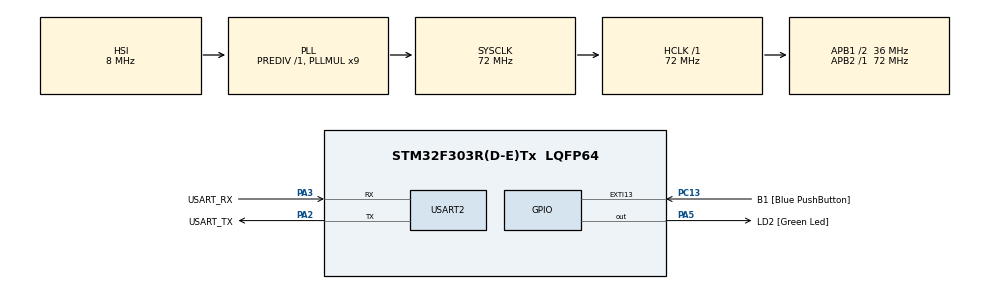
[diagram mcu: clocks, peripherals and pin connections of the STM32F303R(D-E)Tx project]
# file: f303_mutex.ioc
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FREERTOS.Mutexes01=myMutex01,Static,myMutex01ControlBlock
FREERTOS.Tasks01=putResourceTask,24,128,StartPutResourceTask,Default,NULL,Dynamic,NULL,NULL;getResourceTask,24,128,StartGetResourceTask,Default,NULL,Dynamic,NULL,NULL
Mcu.Family=STM32F3
Mcu.Name=STM32F303R(D-E)Tx
Mcu.Package=LQFP64
NVIC.PriorityGroup=NVIC_PRIORITYGROUP_4
NVIC.TIM6_DAC_IRQn=true\:0\:0\:false\:false\:true\:false\:false\:true
NVIC.TimeBase=TIM6_DAC_IRQn
NVIC.TimeBaseIP=TIM6
PA13.GPIO_Label=TMS
PA13.Mode=Serial_Wire
PA13.Signal=SYS_JTMS-SWDIO
PA14.GPIO_Label=TCK
PA14.Mode=Serial_Wire
PA14.Signal=SYS_JTCK-SWCLK
PA2.GPIO_Label=USART_TX
PA2.GPIO_Mode=GPIO_MODE_AF_PP
PA2.GPIO_PuPd=GPIO_NOPULL
PA2.GPIO_Speed=GPIO_SPEED_FREQ_LOW
PA2.Mode=Asynchronous
PA2.Signal=USART2_TX
PA3.GPIO_Label=USART_RX
PA3.GPIO_Mode=GPIO_MODE_AF_PP
PA3.GPIO_PuPd=GPIO_NOPULL
PA3.GPIO_Speed=GPIO_SPEED_FREQ_LOW
PA3.Mode=Asynchronous
PA3.Signal=USART2_RX
PA5.GPIO_Label=LD2 [Green Led]
PA5.GPIO_Mode=GPIO_MODE_OUTPUT_PP
PA5.GPIO_PuPd=GPIO_NOPULL
PA5.GPIO_Speed=GPIO_SPEED_FREQ_LOW
PA5.Signal=GPIO_Output
PB3.GPIO_Label=SWO
PB3.Signal=SYS_JTDO-TRACESWO
PC13.GPIO_Label=B1 [Blue PushButton]
PC13.GPIO_ModeDefaultEXTI=GPIO_MODE_IT_FALLING
PC13.Signal=GPXTI13
PC14-OSC32_IN.Mode=LSE-External-Oscillator
PC14-OSC32_IN.Signal=RCC_OSC32_IN
PC15-OSC32_OUT.Mode=LSE-External-Oscillator
PC15-OSC32_OUT.Signal=RCC_OSC32_OUT
PF0-OSC_IN.Mode=HSE-External-Clock-Source
PF0-OSC_IN.Signal=RCC_OSC_IN
PF1-OSC_OUT.Signal=RCC_OSC_OUT
ProjectManager.HeapSize=0x200
ProjectManager.StackSize=0x400
ProjectManager.TargetToolchain=STM32CubeIDE
RCC.AHBFreq_Value=72000000
RCC.APB1CLKDivider=RCC_HCLK_DIV2
RCC.APB1Freq_Value=36000000
RCC.APB1TimFreq_Value=72000000
RCC.APB2Freq_Value=72000000
RCC.APB2TimFreq_Value=72000000
RCC.CortexFreq_Value=72000000
RCC.HCLKFreq_Value=72000000
RCC.HSE_VALUE=8000000
RCC.HSI_VALUE=8000000
RCC.PLLM=8
RCC.PLLMUL=RCC_PLL_MUL9
RCC.PLLN=336
RCC.PLLP=RCC_PLLP_DIV4
RCC.PLLQ=7
RCC.RCC_PLLsource_Clock_Source_FROM_HSE=RCC_HSE_PREDIV_DIV2
RCC.SYSCLKFreq_VALUE=72000000
RCC.SYSCLKSourceVirtual=RCC_SYSCLKSOURCE_PLLCLK
RCC.USBFreq_Value=72000000
USART2.VirtualMode-Asynchronous=VM_ASYNC
VP_FREERTOS_VS_CMSIS_V2.Mode=CMSIS_V2
VP_SYS_VS_tim6.Mode=TIM6
board=NUCLEO-F303RE

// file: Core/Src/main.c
/* USER CODE BEGIN Header */
/**
  ******************************************************************************
  * @file           : main.c
  * @brief          : Main program body
  ******************************************************************************
  * @attention
  *
  * <h2><center>&copy; Copyright (c) 2021 STMicroelectronics.
  * All rights reserved.</center></h2>
  *
  * This software component is licensed by ST under Ultimate Liberty license
  * SLA0044, the "License"; You may not use this file except in compliance with
  * the License. You may obtain a copy of the License at:
  *                             www.st.com/SLA0044
  *
  ******************************************************************************
  */
/* USER CODE END Header */
#include "main.h"
#include "cmsis_os.h"

/* USER CODE BEGIN Includes */
#include <stdio.h>
#include <string.h>
/* USER CODE END Includes */

typedef StaticSemaphore_t osStaticMutexDef_t;

UART_HandleTypeDef huart2;

/* Definitions for putResourceTask */
osThreadId_t putResourceTaskHandle;
const osThreadAttr_t putResourceTask_attributes = {
  .name = "putResourceTask",
  .priority = (osPriority_t) osPriorityNormal,
  .stack_size = 128 * 4
};
/* Definitions for getResourceTask */
osThreadId_t getResourceTaskHandle;
const osThreadAttr_t getResourceTask_attributes = {
  .name = "getResourceTask",
  .priority = (osPriority_t) osPriorityNormal,
  .stack_size = 128 * 4
};
/* Definitions for myMutex01 */
osMutexId_t myMutex01Handle;
osStaticMutexDef_t myMutex01ControlBlock;
const osMutexAttr_t myMutex01_attributes = {
  .name = "myMutex01",
  .cb_mem = &myMutex01ControlBlock,
  .cb_size = sizeof(myMutex01ControlBlock),
};

void SystemClock_Config(void);
static void MX_GPIO_Init(void);
static void MX_USART2_UART_Init(void);
void StartPutResourceTask(void *argument);
void StartGetResourceTask(void *argument);

/* USER CODE BEGIN 0 */
uint16_t globalVar = 0;
/* USER CODE END 0 */

int main(void)
{

  /* MCU Configuration--------------------------------------------------------*/

  /* Reset of all peripherals, Initializes the Flash interface and the Systick. */
  HAL_Init();

  /* Configure the system clock */
  SystemClock_Config();

  /* Initialize all configured peripherals */
  MX_GPIO_Init();
  MX_USART2_UART_Init();

  /* Init scheduler */
  osKernelInitialize();
  /* Create the mutex(es) */
  /* creation of myMutex01 */
  myMutex01Handle = osMutexNew(&myMutex01_attributes);

  /* Create the thread(s) */
  /* creation of putResourceTask */
  putResourceTaskHandle = osThreadNew(StartPutResourceTask, NULL, &putResourceTask_attributes);

  /* creation of getResourceTask */
  getResourceTaskHandle = osThreadNew(StartGetResourceTask, NULL, &getResourceTask_attributes);

  /* Start scheduler */
  osKernelStart();

  /* We should never get here as control is now taken by the scheduler */
  /* Infinite loop */
  while (1)
  {

  }
}

void SystemClock_Config(void)
{
  RCC_OscInitTypeDef RCC_OscInitStruct = {0};
  RCC_ClkInitTypeDef RCC_ClkInitStruct = {0};
  RCC_PeriphCLKInitTypeDef PeriphClkInit = {0};

  /** Initializes the RCC Oscillators according to the specified parameters
  * in the RCC_OscInitTypeDef structure.
  */
  RCC_OscInitStruct.OscillatorType = RCC_OSCILLATORTYPE_HSI;
  RCC_OscInitStruct.HSIState = RCC_HSI_ON;
  RCC_OscInitStruct.HSICalibrationValue = RCC_HSICALIBRATION_DEFAULT;
  RCC_OscInitStruct.PLL.PLLState = RCC_PLL_ON;
  RCC_OscInitStruct.PLL.PLLSource = RCC_PLLSOURCE_HSI;
  RCC_OscInitStruct.PLL.PLLMUL = RCC_PLL_MUL9;
  RCC_OscInitStruct.PLL.PREDIV = RCC_PREDIV_DIV1;
  if (HAL_RCC_OscConfig(&RCC_OscInitStruct) != HAL_OK)
  {
    Error_Handler();
  }
  /** Initializes the CPU, AHB and APB buses clocks
  */
  RCC_ClkInitStruct.ClockType = RCC_CLOCKTYPE_HCLK|RCC_CLOCKTYPE_SYSCLK
                              |RCC_CLOCKTYPE_PCLK1|RCC_CLOCKTYPE_PCLK2;
  RCC_ClkInitStruct.SYSCLKSource = RCC_SYSCLKSOURCE_PLLCLK;
  RCC_ClkInitStruct.AHBCLKDivider = RCC_SYSCLK_DIV1;
  RCC_ClkInitStruct.APB1CLKDivider = RCC_HCLK_DIV2;
  RCC_ClkInitStruct.APB2CLKDivider = RCC_HCLK_DIV1;

  if (HAL_RCC_ClockConfig(&RCC_ClkInitStruct, FLASH_LATENCY_2) != HAL_OK)
  {
    Error_Handler();
  }
  PeriphClkInit.PeriphClockSelection = RCC_PERIPHCLK_USART2;
  PeriphClkInit.Usart2ClockSelection = RCC_USART2CLKSOURCE_PCLK1;
  if (HAL_RCCEx_PeriphCLKConfig(&PeriphClkInit) != HAL_OK)
  {
    Error_Handler();
  }
}

static void MX_USART2_UART_Init(void)
{

  huart2.Instance = USART2;
  huart2.Init.BaudRate = 38400;
  huart2.Init.WordLength = UART_WORDLENGTH_8B;
  huart2.Init.StopBits = UART_STOPBITS_1;
  huart2.Init.Parity = UART_PARITY_NONE;
  huart2.Init.Mode = UART_MODE_TX_RX;
  huart2.Init.HwFlowCtl = UART_HWCONTROL_NONE;
  huart2.Init.OverSampling = UART_OVERSAMPLING_16;
  huart2.Init.OneBitSampling = UART_ONE_BIT_SAMPLE_DISABLE;
  huart2.AdvancedInit.AdvFeatureInit = UART_ADVFEATURE_NO_INIT;
  if (HAL_UART_Init(&huart2) != HAL_OK)
  {
    Error_Handler();
  }

}

static void MX_GPIO_Init(void)
{
  GPIO_InitTypeDef GPIO_InitStruct = {0};

  /* GPIO Ports Clock Enable */
  __HAL_RCC_GPIOC_CLK_ENABLE();
  __HAL_RCC_GPIOF_CLK_ENABLE();
  __HAL_RCC_GPIOA_CLK_ENABLE();
  __HAL_RCC_GPIOB_CLK_ENABLE();

  /*Configure GPIO pin Output Level */
  HAL_GPIO_WritePin(LD2_GPIO_Port, LD2_Pin, GPIO_PIN_RESET);

  /*Configure GPIO pin : B1_Pin */
  GPIO_InitStruct.Pin = B1_Pin;
  GPIO_InitStruct.Mode = GPIO_MODE_IT_FALLING;
  GPIO_InitStruct.Pull = GPIO_NOPULL;
  HAL_GPIO_Init(B1_GPIO_Port, &GPIO_InitStruct);

  /*Configure GPIO pin : LD2_Pin */
  GPIO_InitStruct.Pin = LD2_Pin;
  GPIO_InitStruct.Mode = GPIO_MODE_OUTPUT_PP;
  GPIO_InitStruct.Pull = GPIO_NOPULL;
  GPIO_InitStruct.Speed = GPIO_SPEED_FREQ_LOW;
  HAL_GPIO_Init(LD2_GPIO_Port, &GPIO_InitStruct);

}

void StartPutResourceTask(void *argument)
{
  /* USER CODE BEGIN 5 */
  char msg[1000];

  /* Infinite loop */
  for(;;)
  {
	osDelay(500);

	while (osMutexAcquire(myMutex01Handle, 0) != osOK){
		sprintf(msg, "PUT thread stuck\n");
		HAL_UART_Transmit(&huart2, (uint8_t*) msg, strlen(msg), HAL_MAX_DELAY);

		// Thread yield
		osThreadYield();
	}

	// Increment global var
	globalVar += 1;

	// Release mutex
	osMutexRelease(myMutex01Handle);
  }
  /* USER CODE END 5 */
}

void StartGetResourceTask(void *argument)
{
  /* USER CODE BEGIN StartGetResourceTask */
  char msg[1000];
  uint16_t getVar = 0;
  /* Infinite loop */
  for(;;)
  {
    osDelay(100);

    while (osMutexAcquire(myMutex01Handle, 0) != osOK){
    	sprintf(msg, "GET thread stuck\n");
    	HAL_UART_Transmit(&huart2, (uint8_t*) msg, strlen(msg), HAL_MAX_DELAY);

    	// Thread yield
    	osThreadYield();
    }

    // Acquire global variable
    getVar = globalVar;

	// Release mutex
    osMutexRelease(myMutex01Handle);

    // Print number
    sprintf(msg, "Got nb %hu\n", getVar);
	HAL_UART_Transmit(&huart2, (uint8_t*) msg, strlen(msg), HAL_MAX_DELAY);
  }
  /* USER CODE END StartGetResourceTask */
}

void HAL_TIM_PeriodElapsedCallback(TIM_HandleTypeDef *htim)
{
  if (htim->Instance == TIM6) {
    HAL_IncTick();
  }
}

void Error_Handler(void)
{
}

/************************ (C) COPYRIGHT STMicroelectronics *****END OF FILE****/
